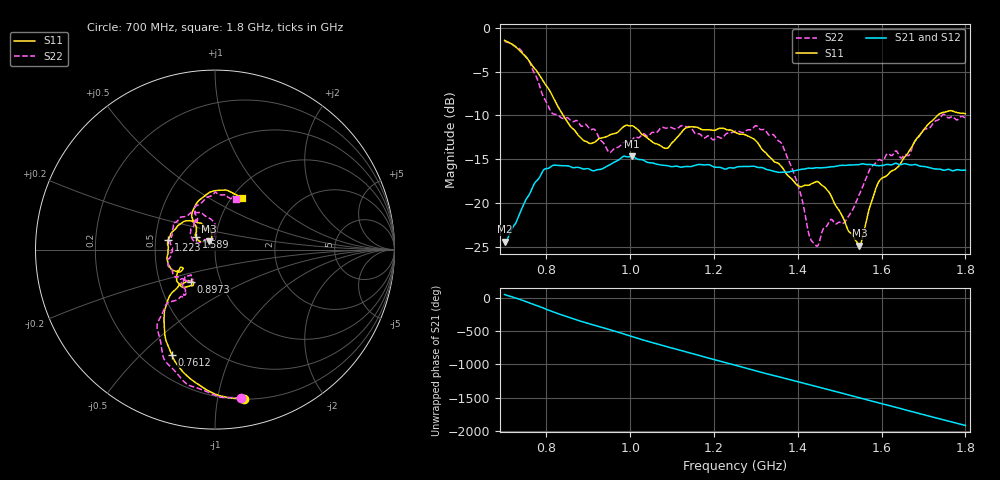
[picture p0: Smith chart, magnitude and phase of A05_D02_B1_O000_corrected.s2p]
! Created with skrf 1.9.0 (http://scikit-rf.org).
# Hz S RI R 50.0
!freq ReS11 ImS11 ReS21 ImS21 ReS12 ImS12 ReS22 ImS22
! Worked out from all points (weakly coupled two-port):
!   1601 points, 700 MHz to 1.8 GHz, reference 50 ohm
!   highest |S21| = -14.66 dB at 1.004 GHz (marker M1); lowest = -24.4 dB at 700 MHz (marker M2)
!   lowest |S11| = -24.9 dB at 1.547 GHz (marker M3), VSWR 1.12, Z = 46.5 + j4.28 ohm
!   |S11| at or under -10 dB: 840.1 MHz to 1.733 GHz (892.9 MHz wide, 69.4 % of centre)
!   |S22| runs from -25.0 to -1.5 dB; largest |S21 - S12| = 0.0035
!   S11 on the Smith chart (normalised r, x): 700 MHz: 0.20, -1.19; 761.2 MHz: 0.32, -0.62; 897.3 MHz: 0.72, -0.27; 1.223 GHz: 0.58, +0.07; 1.589 GHz: 0.80, +0.11; 1.8 GHz: 1.11, +0.71
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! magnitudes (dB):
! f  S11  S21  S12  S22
! 700 MHz  -1.4  -24.4  -24.2  -1.5
! 761.2 MHz  -4.0  -18.8  -18.7  -4.0
! 812.1 MHz  -7.6  -15.8  -15.8  -9.7
! 883.6 MHz  -12.6  -16.1  -16.0  -11.2
! 897.3 MHz  -13.0  -16.1  -16.2  -11.2
! 950.2 MHz  -12.2  -15.7  -15.7  -14.2
! 1.004 GHz  -11.2  -14.7  -14.8  -12.8
! 1.067 GHz  -13.3  -15.6  -15.6  -11.7
! 1.223 GHz  -11.5  -16.1  -16.1  -12.4
! 1.25 GHz  -11.9  -16.0  -15.9  -11.8
! 1.302 GHz  -13.0  -15.9  -15.8  -11.2
! 1.361 GHz  -15.8  -16.5  -16.5  -13.2
! 1.4 GHz  -18.0  -16.2  -16.2  -17.9
! 1.434 GHz  -17.8  -16.1  -16.0  -24.4
! 1.47 GHz  -18.5  -15.9  -15.9  -22.6
! 1.512 GHz  -22.1  -15.7  -15.7  -22.2
! 1.547 GHz  -24.9  -15.6  -15.6  -19.0
! 1.589 GHz  -18.0  -15.7  -15.7  -15.2
! 1.617 GHz  -16.7  -15.6  -15.6  -14.4
! 1.665 GHz  -14.2  -15.6  -15.6  -14.6
! 1.735 GHz  -9.9  -16.1  -16.2  -10.5
! 1.8 GHz  -9.8  -16.3  -16.2  -10.3
